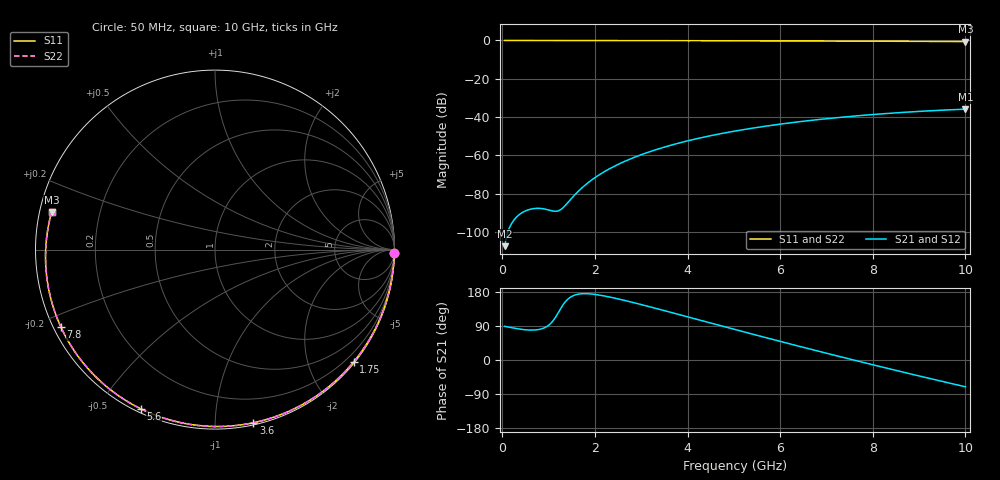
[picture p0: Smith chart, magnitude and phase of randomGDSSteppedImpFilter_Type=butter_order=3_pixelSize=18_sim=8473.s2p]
! freq	dB(S11)	phase(S11)	dB(S12)	phase(S12)
!  dB(S21)	phase(S21)	dB(S22)	phase(S22)
!S-par simulation data
#  GHz  S  DB  R 50
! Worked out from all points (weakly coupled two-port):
!   200 points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, 50 MHz to 10 GHz, reference 50 ohm
!   highest |S21| = -35.88 dB at 10 GHz (marker M1); lowest = -107.4 dB at 50 MHz (marker M2)
!   lowest |S11| = -0.6 dB at 10 GHz (marker M3), VSWR 29.30, Z = 1.73 + j5.64 ohm
!   |S11| at or under -10 dB: nowhere
!   |S22| runs from -0.6 to 0.0 dB; largest |S21 - S12| = 0
!   S11 on the Smith chart (normalised r, x): 50 MHz: open; 1.75 GHz: 0.03, -2.82; 3.6 GHz: 0.02, -1.25; 5.6 GHz: 0.02, -0.64; 7.8 GHz: 0.02, -0.24; 10 GHz: 0.03, +0.11
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0.05  -0.00 -1.1  -107.41 88.8  -107.41 88.8  -0.00 -1.1
0.45  -0.02 -10.2  -89.59 80.3  -89.59 80.3  -0.02 -10.2
0.8  -0.02 -18.1  -87.66 80.7  -87.66 80.7  -0.02 -18.1
1.55  -0.04 -34.7  -81.01 170.7  -81.01 170.7  -0.04 -34.7
1.6  -0.05 -35.8  -79.75 172.6  -79.75 172.6  -0.05 -35.8
1.75  -0.05 -39.1  -76.31 175.0  -76.31 175.0  -0.05 -39.1
2.05  -0.06 -45.6  -70.82 172.2  -70.82 172.2  -0.06 -45.6
2.25  -0.06 -49.8  -67.87 167.9  -67.87 167.9  -0.06 -49.8
2.45  -0.07 -54.0  -65.31 162.7  -65.31 162.7  -0.07 -54.0
2.9  -0.08 -63.4  -60.56 149.4  -60.56 149.4  -0.08 -63.4
3.4  -0.10 -73.5  -56.40 133.5  -56.40 133.5  -0.10 -73.5
3.6  -0.10 -77.5  -54.97 127.0  -54.97 127.0  -0.10 -77.5
4.3  -0.13 -91.0  -50.75 104.1  -50.75 104.1  -0.13 -91.0
5.05  -0.16 -105.0  -47.20 79.7  -47.20 79.7  -0.16 -105.0
5.6  -0.19 -115.0  -45.06 61.9  -45.06 61.9  -0.19 -115.0
6.15  -0.22 -124.7  -43.22 44.4  -43.22 44.4  -0.22 -124.7
6.7  -0.26 -134.3  -41.64 27.2  -41.64 27.2  -0.26 -134.3
7.25  -0.30 -143.9  -40.26 10.2  -40.26 10.2  -0.30 -143.9
7.8  -0.35 -153.4  -39.07 -6.5  -39.07 -6.5  -0.35 -153.4
8.35  -0.40 -163.0  -38.05 -23.0  -38.05 -23.0  -0.40 -162.9
9.2  -0.49 -178.1  -36.77 -47.9  -36.77 -47.9  -0.49 -178.1
10  -0.59 167.1  -35.88 -70.6  -35.88 -70.6  -0.59 167.1
